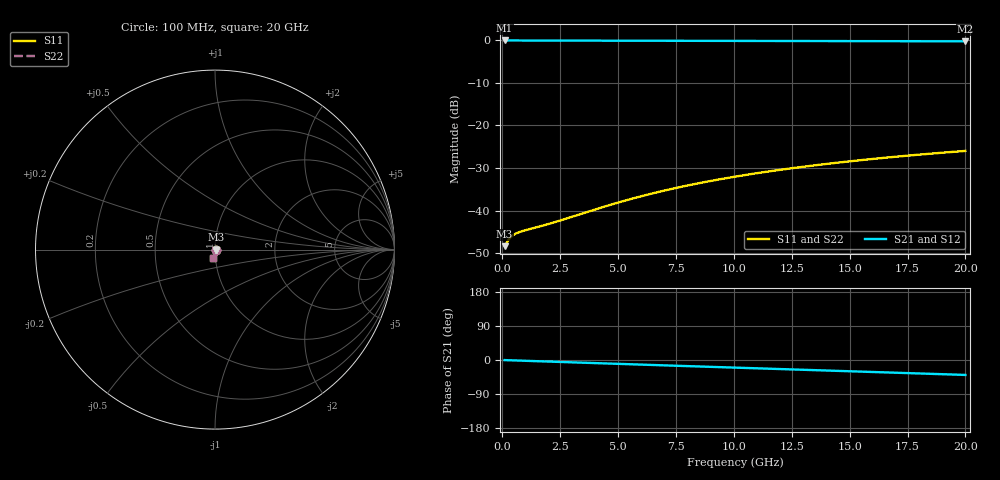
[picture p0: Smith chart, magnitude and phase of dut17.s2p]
! Touchstone file exported from HFSS 2026.1.0
!  File:  C:/ffzhzh/LocalFiles/Ansys_Project_Files/temp_val_TMRDL_17_1782902961_8056.aedt
!  Generated:  06:50:28 PM Jul  1, 2026
!  Design:  TMRDL
!  Project:  temp_val_TMRDL_17_1782902961_8056
! Variables:
!  h_bsmrdl = 2um
!  h_ox = 20um
!  h_rdl = 5um
!  h_sub = 80um
!  h_tmrdl = 4.93um
!  h_tsv = 80um
!  h_via = 3um
!  l_bsmrdl = 300um
!  l_sub = 1118.26um
!  l_tmrdl = 718.26um
!  m_sub = 200um
!  pitch = 17.89um
!  r_tsv = 6um
!  s_tmrdl = 10um
!  w_bsmrdl = 18um
!  w_sub = 500um
!  w_tmrdl = 14.32um
!  x_tsv_center1 = 725.42um
!  x_tsv_center2 = 1043.42um
!  x_tsv_center3 = 1776um
!  x_tsv_center4 = 2094um
!  x_tsv_center5 = 2826.58um
!  x_tsv_center6 = 3144.58um
# GHz S MA R 50.000000
! Terminal data exported
! Port[1] = TM_RDL1_1_T1
! Port[2] = TM_RDL1_1_T2
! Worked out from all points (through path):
!   200 points, 100 MHz to 20 GHz, reference 50 ohm
!   highest |S21| = -0.03 dB at 100 MHz (marker M1); lowest = -0.2 dB at 20 GHz (marker M2)
!   group delay of S21, straight-line fit = 5.44 ps
!   lowest |S11| = -48.4 dB at 100 MHz (marker M3), VSWR 1.01, Z = 50.4 + j0.0513 ohm
!   |S11| at or under -10 dB: start of sweep to end of sweep
!   |S22| runs from -48.4 to -25.9 dB; largest |S21 - S12| = 4.6e-15
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0.1  0.003823 7.6  0.9962 -0.2  0.9962 -0.2  0.003823 7.6
! Gamma 0 0 0 0
! Port Impedance 50 0 50 0
0.2  0.004247 11.0  0.9958 -0.5  0.9958 -0.5  0.004247 11.0
0.3  0.004659 11.0  0.9954 -0.7  0.9954 -0.7  0.004659 11.0
0.4  0.004982 9.5  0.9951 -0.9  0.9951 -0.9  0.004982 9.5
0.5  0.005223 7.6  0.9948 -1.1  0.9948 -1.1  0.005223 7.6
0.7  0.005551 4.0  0.9945 -1.5  0.9945 -1.5  0.005552 4.0
1  0.005887 -0.6  0.9941 -2.1  0.9941 -2.1  0.005889 -0.6
2.1  0.007096 -12.8  0.993 -4.4  0.993 -4.4  0.007103 -12.8
3.5  0.009329 -25.7  0.9911 -7.2  0.9911 -7.2  0.009348 -25.7
4.4  0.01112 -33.2  0.9898 -9.0  0.9898 -9.0  0.01115 -33.1
5.2  0.01288 -39.4  0.9886 -10.6  0.9886 -10.6  0.01292 -39.3
6  0.01475 -45.0  0.9874 -12.2  0.9874 -12.2  0.0148 -44.9
6.8  0.0167 -50.3  0.9863 -13.8  0.9863 -13.8  0.01676 -50.1
7.6  0.01871 -55.1  0.9853 -15.4  0.9853 -15.4  0.01878 -54.9
8.4  0.02076 -59.5  0.9843 -16.9  0.9843 -16.9  0.02084 -59.3
10.1  0.02518 -67.9  0.9824 -20.2  0.9824 -20.2  0.02528 -67.6
11.7  0.02936 -74.8  0.9807 -23.3  0.9807 -23.3  0.02949 -74.5
13.4  0.03379 -81.3  0.9791 -26.6  0.9791 -26.6  0.03395 -80.9
15  0.03792 -86.9  0.9776 -29.7  0.9776 -29.7  0.0381 -86.4
16.7  0.04222 -92.3  0.9761 -33.0  0.9761 -33.0  0.04243 -91.8
18.3  0.04617 -97.1  0.9747 -36.1  0.9747 -36.1  0.04641 -96.5
20  0.05024 -101.9  0.9733 -39.4  0.9733 -39.4  0.0505 -101.3
